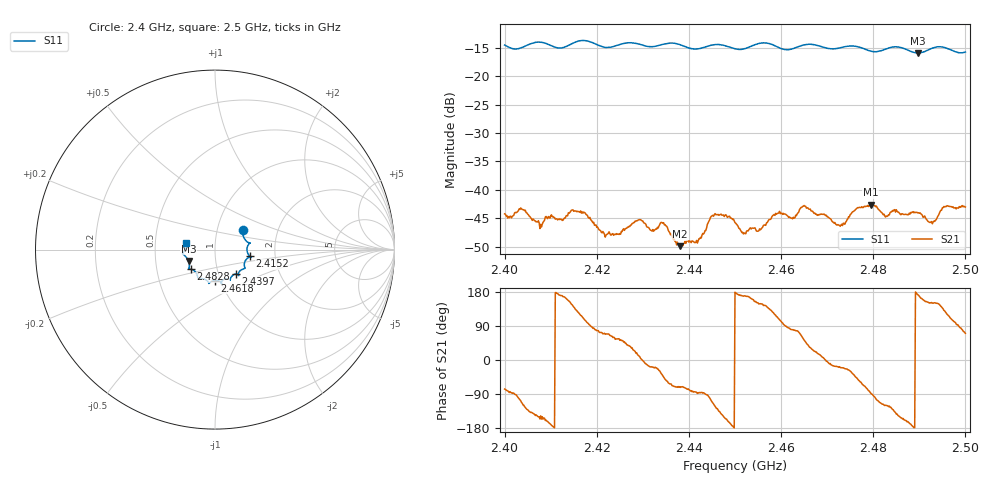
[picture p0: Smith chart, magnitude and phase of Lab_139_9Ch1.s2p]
# Hz S RI R 50
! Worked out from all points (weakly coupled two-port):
!   601 points, 2.4 GHz to 2.5 GHz, reference 50 ohm
!   highest |S21| = -42.62 dB at 2.4795 GHz (marker M1); lowest = -49.9 dB at 2.438 GHz (marker M2)
!   lowest |S11| = -15.9 dB at 2.4897 GHz (marker M3), VSWR 1.38, Z = 36.9 - j4.84 ohm
!   |S11| at or under -10 dB: start of sweep to end of sweep
!   S12 and S22 are empty: the file has one direction only
!   S11 on the Smith chart (normalised r, x): 2.4 GHz: 1.33, +0.30; 2.4152 GHz: 1.48, -0.12; 2.4397 GHz: 1.21, -0.34; 2.4618 GHz: 0.94, -0.33; 2.4828 GHz: 0.74, -0.17; 2.5 GHz: 0.72, +0.06
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2.4e9  0.1553 0.1072  0.00141 -0.00598  0 0  0 0
2.404e9  0.1747 0.0472  -0.0032 -0.00586  0 0  0 0
2.408e9  0.1962 0.0371  -0.00429 -0.00192  0 0  0 0
2.415167e9  0.1951 -0.0378  -0.00482 0.00437  0 0  0 0
2.416667e9  0.2023 -0.0426  -0.00281 0.00556  0 0  0 0
2.422e9  0.1678 -0.0639  0.00145 0.0037  0 0  0 0
2.433333e9  0.1306 -0.1335  0.00421 -0.00187  0 0  0 0
2.438e9  0.1291 -0.1402  0.00107 -0.003  0 0  0 0
2.439667e9  0.1171 -0.1361  0.000777 -0.00347  0 0  0 0
2.442333e9  0.093 -0.149  0.000287 -0.00369  0 0  0 0
2.445333e9  0.0844 -0.1698  -0.00254 -0.00526  0 0  0 0
2.45e9  0.0651 -0.1625  -0.00514 0.000105  0 0  0 0
2.452e9  0.0441 -0.1689  -0.00409 0.000775  0 0  0 0
2.461833e9  -0.00271 -0.1724  0.00061 0.00573  0 0  0 0
2.466667e9  -0.0343 -0.1881  0.0057 0.00312  0 0  0 0
2.472833e9  -0.0786 -0.1602  0.00449 -0.0016  0 0  0 0
2.4795e9  -0.1058 -0.1287  0.000266 -0.00739  0 0  0 0
2.482833e9  -0.1362 -0.1094  -0.00292 -0.00509  0 0  0 0
2.483333e9  -0.1401 -0.1092  -0.00329 -0.00506  0 0  0 0
2.489667e9  -0.1472 -0.0639  -0.0062 0.000852  0 0  0 0
2.492667e9  -0.1738 -0.0291  -0.00462 0.00249  0 0  0 0
2.5e9  -0.1591 0.0389  0.00239 0.00663  0 0  0 0
